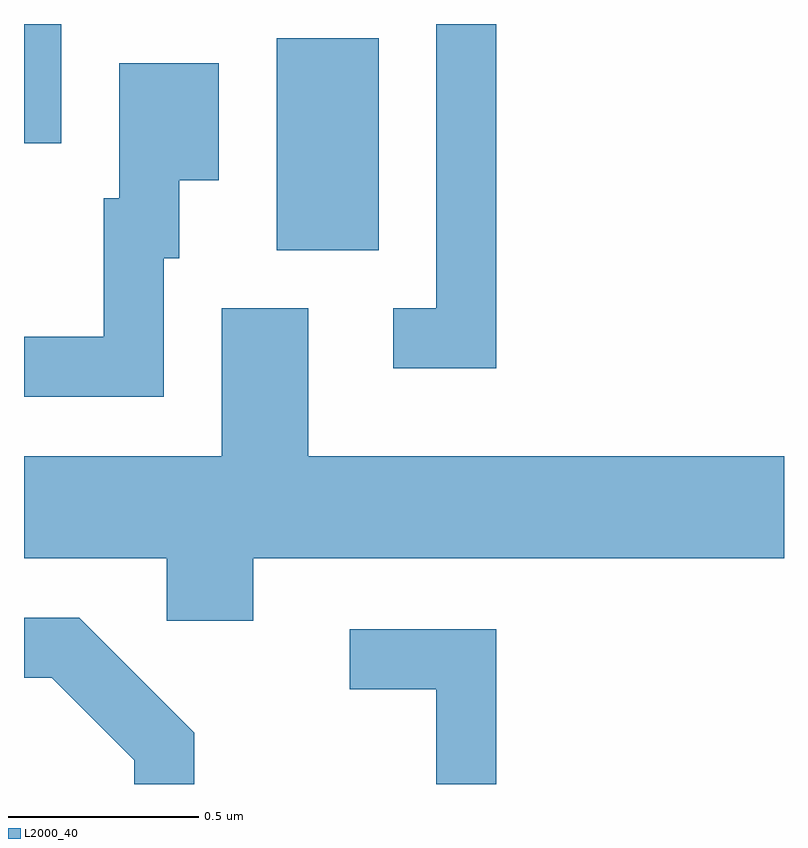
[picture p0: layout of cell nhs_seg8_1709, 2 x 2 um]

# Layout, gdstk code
import gdstk
lib = gdstk.Library(unit=1e-6, precision=1e-09)
def R(c, l, rs):  # rectangles x0, y0, x1, y1
    for r in rs: c.add(gdstk.rectangle(r[:2], r[2:], *l))
def P(c, l, *ps):  # polygons
    for p in ps: c.add(gdstk.Polygon(p, *l))
L2000_40 = (2000, 40)

nhs_seg8_1709 = lib.new_cell('nhs_seg8_1709')
R(nhs_seg8_1709, L2000_40, [(198.276,1872.746,198.544,1873.304), (197.611,1873.028,197.709,1873.342)])
P(nhs_seg8_1709, L2000_40, [(198.854,1873.342),(198.696,1873.342),(198.696,1872.594),(198.583,1872.594),(198.583,1872.436),(198.854,1872.436)],
  [(197.979,1872.726),(198.019,1872.726),(198.019,1872.931),(198.124,1872.931),(198.124,1873.239),(197.861,1873.239),(197.861,1872.884),(197.821,1872.884),(197.821,1872.519),(197.611,1872.519),(197.611,1872.361),(197.979,1872.361)],
  [(198.214,1871.936),(199.611,1871.936),(199.611,1872.204),(198.359,1872.204),(198.359,1872.594),(198.131,1872.594),(198.131,1872.204),(197.611,1872.204),(197.611,1871.936),(197.986,1871.936),(197.986,1871.771),(198.214,1871.771)],
  [(198.059,1871.477),(197.757,1871.779),(197.611,1871.779),(197.611,1871.621),(197.684,1871.621),(197.901,1871.404),(197.901,1871.342),(198.059,1871.342)],
  [(198.854,1871.749),(198.468,1871.749),(198.468,1871.591),(198.696,1871.591),(198.696,1871.342),(198.854,1871.342)])

lib.write_gds('nhs_seg8_1709.gds')
